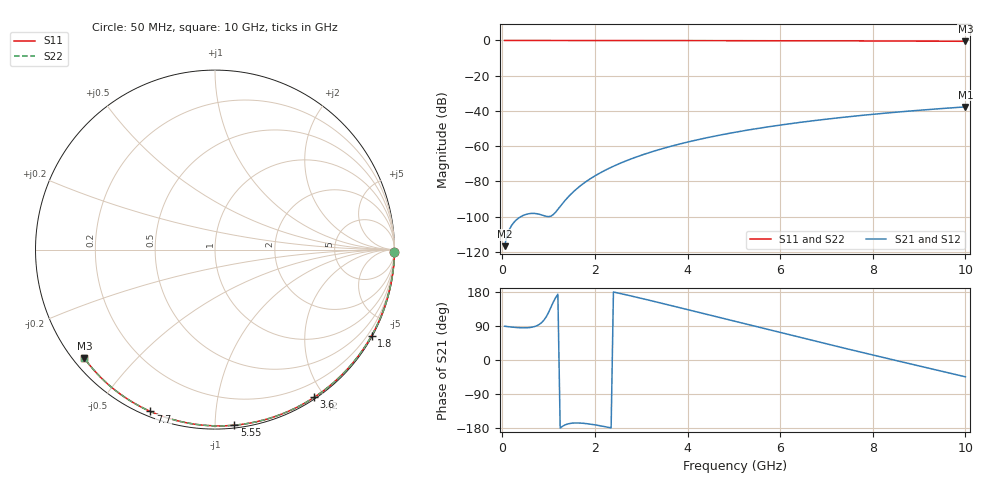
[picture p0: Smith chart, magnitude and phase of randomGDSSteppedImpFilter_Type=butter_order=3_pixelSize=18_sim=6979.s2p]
! freq	dB(S11)	phase(S11)	dB(S12)	phase(S12)
!  dB(S21)	phase(S21)	dB(S22)	phase(S22)
!S-par simulation data
#  GHz  S  DB  R 50
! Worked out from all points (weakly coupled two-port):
!   200 points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, 50 MHz to 10 GHz, reference 50 ohm
!   highest |S21| = -37.73 dB at 10 GHz (marker M1); lowest = -116.8 dB at 50 MHz (marker M2)
!   lowest |S11| = -0.5 dB at 10 GHz (marker M3), VSWR 36.54, Z = 1.55 - j18.1 ohm
!   |S11| at or under -10 dB: nowhere
!   |S22| runs from -0.5 to 0.0 dB; largest |S21 - S12| = 0
!   S11 on the Smith chart (normalised r, x): 50 MHz: open; 1.8 GHz: 0.03, -3.90; 3.6 GHz: 0.02, -1.87; 5.55 GHz: 0.02, -1.12; 7.7 GHz: 0.02, -0.68; 10 GHz: 0.03, -0.36
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0.05  -0.00 -0.8  -116.82 89.1  -116.82 89.1  -0.00 -0.8
0.45  -0.01 -7.3  -99.38 84.9  -99.38 84.9  -0.01 -7.3
0.9  -0.02 -14.5  -99.51 105.4  -99.51 105.4  -0.02 -14.5
1.75  -0.04 -28.0  -81.25 -167.0  -81.25 -167.0  -0.04 -28.0
1.8  -0.04 -28.8  -80.30 -167.7  -80.30 -167.7  -0.04 -28.7
1.85  -0.04 -29.5  -79.40 -168.4  -79.40 -168.4  -0.04 -29.5
2  -0.04 -31.9  -76.91 -171.1  -76.91 -171.1  -0.04 -31.9
2.15  -0.04 -34.2  -74.68 -174.4  -74.68 -174.4  -0.04 -34.2
2.35  -0.05 -37.3  -72.03 -179.3  -72.03 -179.3  -0.05 -37.3
2.55  -0.05 -40.4  -69.69 175.4  -69.69 175.4  -0.05 -40.4
2.95  -0.06 -46.4  -65.65 164.2  -65.65 164.2  -0.06 -46.4
3.4  -0.07 -53.2  -61.87 151.0  -61.87 151.0  -0.07 -53.2
3.6  -0.08 -56.1  -60.38 145.0  -60.38 145.0  -0.08 -56.1
4.3  -0.09 -66.3  -55.90 123.9  -55.90 123.9  -0.09 -66.3
5.05  -0.12 -76.9  -52.02 101.1  -52.02 101.1  -0.12 -76.9
5.55  -0.14 -83.7  -49.82 86.0  -49.82 86.0  -0.14 -83.7
6.1  -0.16 -91.1  -47.68 69.4  -47.68 69.4  -0.16 -91.1
6.7  -0.19 -99.0  -45.63 51.5  -45.63 51.5  -0.19 -99.0
7.7  -0.26 -111.8  -42.71 22.0  -42.71 22.0  -0.26 -111.8
8.35  -0.31 -119.9  -41.09 3.1  -41.09 3.1  -0.31 -119.9
9.2  -0.39 -130.4  -39.23 -21.4  -39.23 -21.4  -0.39 -130.4
10  -0.48 -140.2  -37.73 -44.4  -37.73 -44.4  -0.48 -140.2
